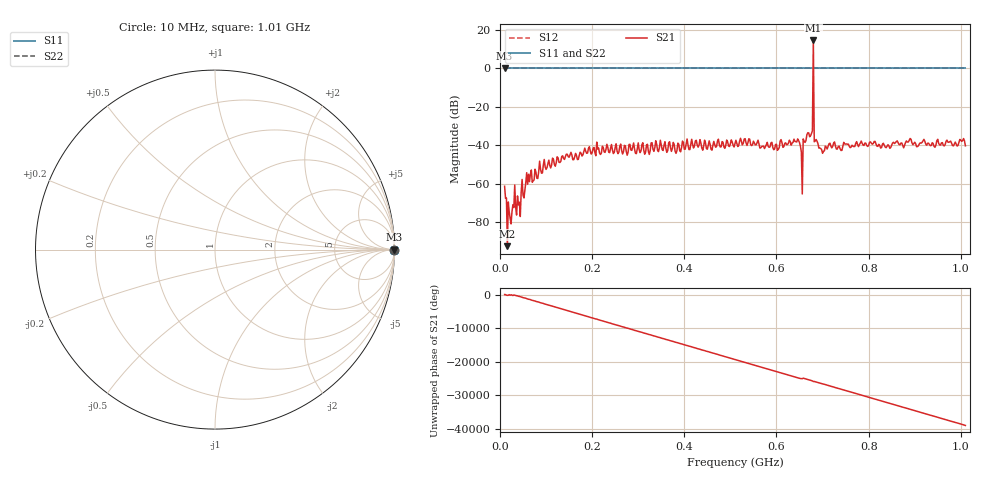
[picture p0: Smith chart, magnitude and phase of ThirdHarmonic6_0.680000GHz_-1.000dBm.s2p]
! 8/15/2025 10:40:56 PM
! C:\ANRITSUVNA\TEMP\TEMP.S2P
! CHANNEL.1
! TR.MEASUREMENT
! RAW.DATA
! RF.CORRECTION.OFF
! AVERAGING.OFF
! IF.BANDWIDTH: 5KHZ
! SWEEPTYPE:  FREQ.SWEEP(Linear)
! Reference Plane Port Info
! PORT:  PORT1  PORT2
! DISTANCE:  0  m  0  m
! TIME:  0  s  0  s
! PHASE.OFFSET:  0  deg.  0  deg.
! LOSS:  0  dB  0  dB
! REF.LOSS:  0  dB  0  dB
! REF.FREQ:  0  Hz  0  Hz
! Power Info
! POWER:  -20  dBm  -20  dBm
! EFF.POWER:  -20  dBm  -20  dBm
! SOURCE.ATTEN:  0  dB  0  dB
! TEST.ATTEN:  0  dB  0  dB
# GHZ S RI R 50.0
! FREQ.GHZ  S11RE  S11IM  S21RE  S21IM  S12RE  S12IM  S22RE  S22IM
!; PortSelection: Port_12
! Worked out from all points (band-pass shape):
!   501 points, 10 MHz to 1.01 GHz, reference 50 ohm
!   highest |S21| = 14.56 dB at 680 MHz (marker M1); lowest = -92.5 dB at 16 MHz (marker M2)
!   |S21| within 3 dB of the highest: 679.8723 MHz to 680.1138 MHz (241.5 kHz wide, 0.0355 % of centre)
!   lowest |S11| = 0.0 dB at 10 MHz (marker M3)
!   |S11| at or under -10 dB: nowhere
!   |S22| runs from 0.0 to 0.0 dB; largest |S21 - S12| = 4.4
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0.01  1 0  -0.000813 0.00028  1 0  1 0
0.016  1 0  3.6e-06 -2.35e-05  1 0  1 0
0.02  1 0  -9.29e-05 0.00016  1 0  1 0
0.03  1 0  0.000214 0.000111  1 0  1 0
0.04  1 0  0.000282 -8.3e-06  1 0  1 0
0.062  1 0  -0.00176 -0.000165  1 0  1 0
0.178  1 0  -0.00527 -0.000101  1 0  1 0
0.344  1 0  0.00611 -0.00317  1 0  1 0
0.51  1 0  -0.00912 0.00645  1 0  1 0
0.642  1 0  -0.00852 -0.00912  1 0  1 0
0.65  1 0  -0.00262 -0.0114  1 0  1 0
0.652  1 0  -0.00943 -0.000904  1 0  1 0
0.662  1 0  -0.0108 0.00493  1 0  1 0
0.674  1 0  0.0174 0.00342  1 0  1 0
0.676  1 0  0.00711 -0.019  1 0  1 0
0.678  1 0  -0.0233 -0.00532  1 0  1 0
0.68  1 0  4.942 2.033  1 0  1 0
0.684  1 0  0.00804 -0.0101  1 0  1 0
0.686  1 0  -0.00962 -0.0104  1 0  1 0
0.7  1 0  0.00553 0.00281  1 0  1 0
0.844  1 0  0.00905 0.00325  1 0  1 0
1.01  1 0  -0.00948 0.00209  1 0  1 0
